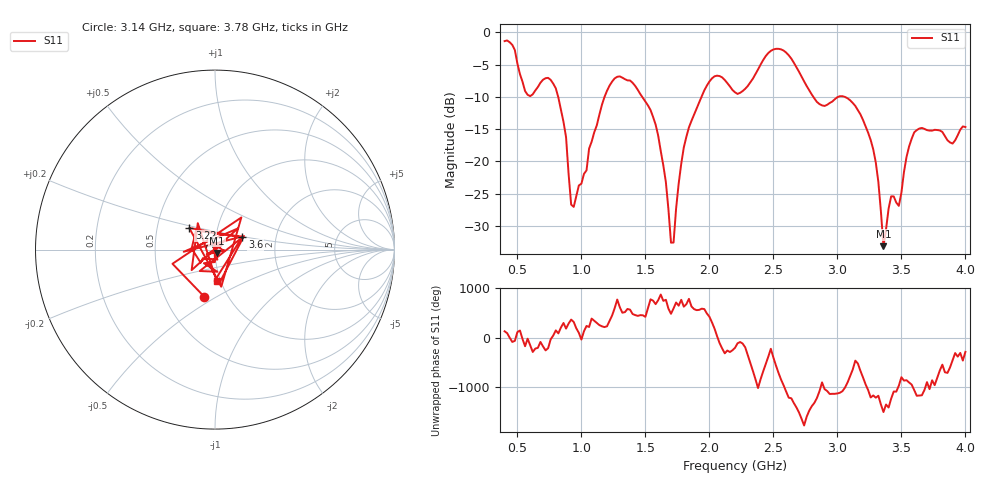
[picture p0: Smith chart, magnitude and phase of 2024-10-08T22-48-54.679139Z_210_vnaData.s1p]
! Created with skrf (http://scikit-rf.org).
# Hz S RI R 50.0
!freq ReS11 ImS11
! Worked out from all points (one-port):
!   181 points, 400 MHz to 4 GHz, reference 50 ohm
!   lowest |S11| = -33.1 dB at 3.36 GHz (marker M1), VSWR 1.05, Z = 51.1 - j1.93 ohm
!   |S11| at or under -10 dB: 818.6 MHz to 1.18 GHz (361.9 MHz wide, 36.2 % of centre); 1.475 GHz to 1.938 GHz (462.7 MHz wide, 27.1 % of centre); 3.058 GHz to end of sweep (the widest 3 of 4)
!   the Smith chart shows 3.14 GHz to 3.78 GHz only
!   S11 on the Smith chart (normalised r, x): 3.14 GHz: 0.78, -0.44; 3.22 GHz: 0.73, +0.18; 3.6 GHz: 1.34, +0.20; 3.78 GHz: 0.96, -0.35
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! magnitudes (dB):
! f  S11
! 400 MHz  -1.3
! 580 MHz  -9.7
! 760 MHz  -7.4
! 860 MHz  -13.9
! 940 MHz  -27.1
! 1.18 GHz  -10.0
! 1.3 GHz  -6.8
! 1.58 GHz  -14.3
! 1.66 GHz  -23.2
! 1.7 GHz  -32.6
! 1.76 GHz  -23.4
! 1.84 GHz  -14.7
! 1.98 GHz  -8.3
! 2.2 GHz  -9.3
! 2.5 GHz  -2.6
! 2.66 GHz  -4.7
! 2.86 GHz  -11.1
! 3.1 GHz  -10.5
! 3.14 GHz  -11.4
! 3.22 GHz  -14.6
! 3.3 GHz  -20.2
! 3.36 GHz  -33.1
! 3.42 GHz  -25.4
! 3.48 GHz  -26.9
! 3.56 GHz  -17.7
! 3.6 GHz  -15.5
! 3.78 GHz  -15.1
! 4 GHz  -14.7
